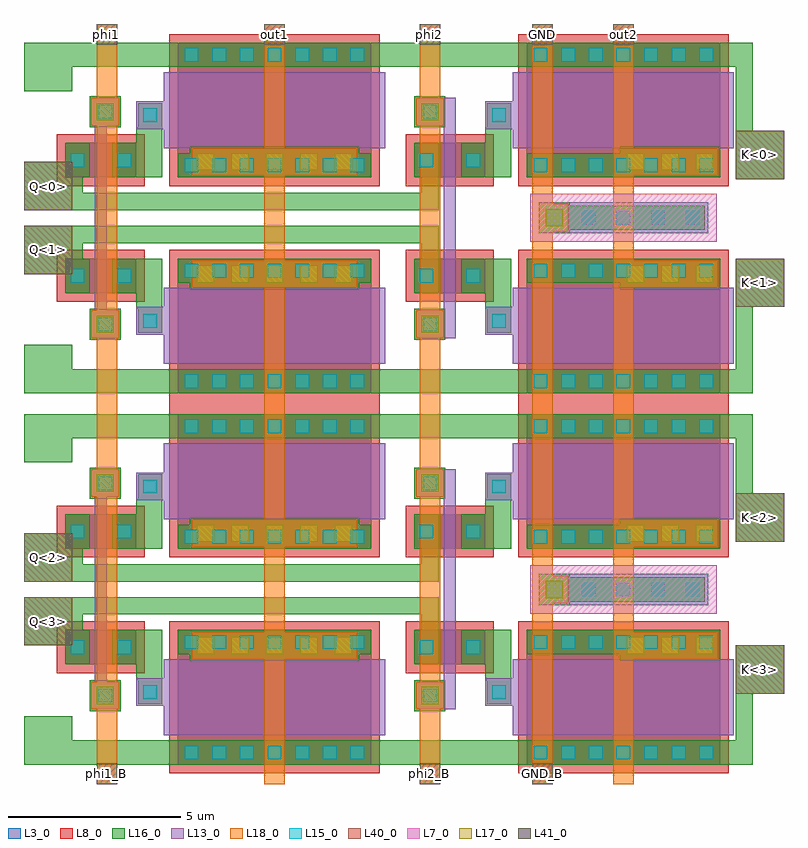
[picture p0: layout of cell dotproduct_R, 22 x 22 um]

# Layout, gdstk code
from math import pi, radians
import gdstk
lib = gdstk.Library(unit=1e-6, precision=1e-09)
def R(c, l, rs):  # rectangles x0, y0, x1, y1
    for r in rs: c.add(gdstk.rectangle(r[:2], r[2:], *l))
def A(c, l, x, y, w, h, nx, ny, dx, dy):  # array of equal rectangles
    R(c, l, [(x+i*dx, y+j*dy, x+i*dx+w, y+j*dy+h) for i in range(nx) for j in range(ny)])
L3_0 = (3, 0)
L7_0 = (7, 0)
L8_0 = (8, 0)
L13_0 = (13, 0)
L15_0 = (15, 0)
L16_0 = (16, 0)
L17_0 = (17, 0)
L18_0 = (18, 0)
L40_0 = (40, 0)
L41_0 = (41, 0)

nch_cdns_755280863770 = lib.new_cell('nch_CDNS_755280863770')
R(nch_cdns_755280863770, L3_0, [(-0.85,0,-0.15,5.6), (-0.85,0,-0.15,5.6), (-0.15,0,2.35,5.6), (2.35,0,3.05,5.6), (2.35,0,3.05,5.6)])
R(nch_cdns_755280863770, L8_0, [(-1.1,-0.25,3.3,5.85)])
R(nch_cdns_755280863770, L13_0, [(0,-0.4,2.2,6)])
A(nch_cdns_755280863770, L15_0, -0.7, 0.2, 0.4, 0.4, 1, 7, 0, 0.8)
A(nch_cdns_755280863770, L15_0, 2.5, 0.2, 0.4, 0.4, 1, 7, 0, 0.8)
R(nch_cdns_755280863770, L16_0, [(-0.85,0,-0.15,5.6), (2.35,0,3.05,5.6)])
nch_cdns_755280863770.add(gdstk.Label('& SerialNumber 000000', (0,0), layer=16, texttype=0))
nch_cdns_755280863770.add(gdstk.Label('& Distributor VIS', (0,0), layer=16, texttype=0))
nch_cdns_755280863770.add(gdstk.Label('& Metric 1', (0,0), layer=16, texttype=0))
nch_cdns_755280863770.add(gdstk.Label('& Version    \t  1.7A', (0,0), layer=16, texttype=0))
nch_cdns_755280863770.add(gdstk.Label('& PDKName     vis35cv', (0,0), layer=16, texttype=0))
nch_cdns_755280863770.add(gdstk.Label('& Vendor VIS Corp.', (0,0), layer=16, texttype=0))
nch_cdns_755280863770.add(gdstk.Label('D', (2.7,2.8), layer=59, texttype=0))
nch_cdns_755280863770.add(gdstk.Label('S', (-0.5,2.8), layer=59, texttype=0))
nch_cdns_755280863770.add(gdstk.Label('G', (1.1,2.8), layer=59, texttype=0))
nch_cdns_755280863770.add(gdstk.Label('& SerialNumber 000000', (0,0), layer=63, texttype=63))
nch_cdns_755280863770.add(gdstk.Label('& Distributor VIS', (0,0), layer=63, texttype=63))
nch_cdns_755280863770.add(gdstk.Label('& Metric 1', (0,0), layer=63, texttype=63))
nch_cdns_755280863770.add(gdstk.Label('& Version    \t  1.7A', (0,0), layer=63, texttype=63))
nch_cdns_755280863770.add(gdstk.Label('& PDKName     vis35cv', (0,0), layer=63, texttype=63))
nch_cdns_755280863770.add(gdstk.Label('& Vendor VIS Corp.', (0,0), layer=63, texttype=63))

nch_cdns_755280863771 = lib.new_cell('nch_CDNS_755280863771')
R(nch_cdns_755280863771, L3_0, [(-0.85,0,-0.15,1), (-0.85,0,-0.15,1), (-0.15,0,0.5,1), (0.5,0,1.2,1), (0.5,0,1.2,1)])
R(nch_cdns_755280863771, L8_0, [(-1.1,-0.25,1.45,1.25)])
R(nch_cdns_755280863771, L13_0, [(0,-0.4,0.35,1.4)])
R(nch_cdns_755280863771, L15_0, [(-0.7,0.3,-0.3,0.7), (0.65,0.3,1.05,0.7)])
R(nch_cdns_755280863771, L16_0, [(-0.85,0,-0.15,1), (0.5,0,1.2,1)])
nch_cdns_755280863771.add(gdstk.Label('& SerialNumber 000000', (0,0), layer=16, texttype=0))
nch_cdns_755280863771.add(gdstk.Label('& Distributor VIS', (0,0), layer=16, texttype=0))
nch_cdns_755280863771.add(gdstk.Label('& Metric 1', (0,0), layer=16, texttype=0))
nch_cdns_755280863771.add(gdstk.Label('& Version    \t  1.7A', (0,0), layer=16, texttype=0))
nch_cdns_755280863771.add(gdstk.Label('& PDKName     vis35cv', (0,0), layer=16, texttype=0))
nch_cdns_755280863771.add(gdstk.Label('& Vendor VIS Corp.', (0,0), layer=16, texttype=0))
nch_cdns_755280863771.add(gdstk.Label('D', (0.85,0.5), layer=59, texttype=0))
nch_cdns_755280863771.add(gdstk.Label('S', (-0.5,0.5), layer=59, texttype=0))
nch_cdns_755280863771.add(gdstk.Label('G', (0.175,0.5), layer=59, texttype=0))
nch_cdns_755280863771.add(gdstk.Label('& SerialNumber 000000', (0,0), layer=63, texttype=63))
nch_cdns_755280863771.add(gdstk.Label('& Distributor VIS', (0,0), layer=63, texttype=63))
nch_cdns_755280863771.add(gdstk.Label('& Metric 1', (0,0), layer=63, texttype=63))
nch_cdns_755280863771.add(gdstk.Label('& Version    \t  1.7A', (0,0), layer=63, texttype=63))
nch_cdns_755280863771.add(gdstk.Label('& PDKName     vis35cv', (0,0), layer=63, texttype=63))
nch_cdns_755280863771.add(gdstk.Label('& Vendor VIS Corp.', (0,0), layer=63, texttype=63))

m2_m1_cdns_755280863770 = lib.new_cell('M2_M1_CDNS_755280863770')
R(m2_m1_cdns_755280863770, L16_0, [(-1.45,-0.45,1.45,0.45)])
A(m2_m1_cdns_755280863770, L17_0, -1.25, -0.25, 0.5, 0.5, 3, 1, 1, 0)
R(m2_m1_cdns_755280863770, L18_0, [(-1.4,-0.4,1.4,0.4)])

m1_pactive_cdns_75528086 = lib.new_cell('M1_PACTIVE_CDNS_755280863771')
R(m1_pactive_cdns_75528086, L3_0, [(-2.45,-0.45,2.45,0.45)])
R(m1_pactive_cdns_75528086, L7_0, [(-2.7,-0.7,2.7,0.7)])
A(m1_pactive_cdns_75528086, L15_0, -2.2, -0.2, 0.4, 0.4, 5, 1, 1, 0)
R(m1_pactive_cdns_75528086, L16_0, [(-2.35,-0.35,2.35,0.35)])

m2_m1_cdns_755280863772 = lib.new_cell('M2_M1_CDNS_755280863772')
R(m2_m1_cdns_755280863772, L16_0, [(-0.45,-0.45,0.45,0.45)])
R(m2_m1_cdns_755280863772, L17_0, [(-0.25,-0.25,0.25,0.25)])
R(m2_m1_cdns_755280863772, L18_0, [(-0.4,-0.4,0.4,0.4)])

m1_poly1_cdns_7552808637 = lib.new_cell('M1_POLY1_CDNS_755280863773')
R(m1_poly1_cdns_7552808637, L13_0, [(-0.4,-0.4,0.4,0.4)])
R(m1_poly1_cdns_7552808637, L15_0, [(-0.2,-0.2,0.2,0.2)])
R(m1_poly1_cdns_7552808637, L16_0, [(-0.35,-0.35,0.35,0.35)])

m2_m1_cdns_755280863774 = lib.new_cell('M2_M1_CDNS_755280863774')
R(m2_m1_cdns_755280863774, L16_0, [(-2.45,-0.45,2.45,0.45)])
A(m2_m1_cdns_755280863774, L17_0, -2.25, -0.25, 0.5, 0.5, 5, 1, 1, 0)
R(m2_m1_cdns_755280863774, L18_0, [(-2.4,-0.4,2.4,0.4)])

dotproduct_r = lib.new_cell('dotproduct_R')
R(dotproduct_r, L8_0, [(4.2,10.96,10.3,11.06), (14.3,10.96,20.4,11.06)])
R(dotproduct_r, L13_0, [(2.05,2.16,2.4,3.06), (12.15,2.16,12.5,3.06), (2.05,8.21,2.4,9.11), (12.15,8.21,12.5,9.11), (2.05,12.91,2.4,13.81), (12.15,12.91,12.5,13.81), (2.05,18.96,2.4,19.86), (12.15,18.96,12.5,19.86)])
R(dotproduct_r, L16_0, [(0,0.56,1.4,1.96), (20.6,1.26,21.1,2.61), (20.6,2.61,22,4.01), (3.25,3.01,4,4.46), (13.35,3.01,14.1,4.46), (0,4.01,1.4,5.41), (1.2,4.91,12,5.41), (0,5.86,1.4,7.26), (1.2,5.86,12,6.36), (3.25,6.81,4,8.26), (13.35,6.81,14.1,8.26), (20.6,7.01,22,8.41), (20.6,8.41,21.1,10.01), (0,9.31,1.4,10.71), (0,11.31,1.4,12.71), (20.6,12.01,21.1,13.81), (3.25,13.76,4,15.21), (13.35,13.76,14.1,15.21), (20.6,13.81,22,15.21), (0,14.76,1.4,16.16), (1.2,15.66,12,16.16), (0,16.61,1.4,18.01), (1.2,16.61,12,17.11), (20.6,17.51,22,18.91), (3.25,17.56,4,19.01), (13.35,17.56,14.1,19.01), (20.6,18.91,21.1,20.76), (0,20.06,1.4,21.46)])
R(dotproduct_r, L40_0, [(20.6,2.61,22,4.01), (0,4.01,1.4,5.41), (0,5.86,1.4,7.26), (20.6,7.01,22,8.41), (20.6,13.81,22,15.21), (0,14.76,1.4,16.16), (0,16.61,1.4,18.01), (20.6,17.51,22,18.91)])
R(dotproduct_r, L41_0, [(2.1,0,2.7,0.6), (11.45,0,12.05,0.6), (14.71,0,15.31,0.6), (2.1,21.4,2.7,22), (6.95,21.4,7.55,22), (11.45,21.4,12.05,22), (14.71,21.4,15.31,22), (17.05,21.4,17.65,22)])
dotproduct_r.add(gdstk.FlexPath([(4.45,0.91),(1.4,0.91)], 0.7, ends="flush", simple_path=True, layer=16, datatype=0))  # L16_0
dotproduct_r.add(gdstk.FlexPath([(4.57,11.66),(1.4,11.66)], 0.7, ends="flush", simple_path=True, layer=16, datatype=0))  # L16_0
dotproduct_r.add(gdstk.FlexPath([(4.45,21.11),(1.4,21.11)], 0.7, ends="flush", simple_path=True, layer=16, datatype=0))  # L16_0
dotproduct_r.add(gdstk.FlexPath([(4.8,11.31),(4.8,11.66)], 0.7, ends=(0, 0.35), simple_path=True, layer=16, datatype=0))  # L16_0
dotproduct_r.add(gdstk.FlexPath([(4.8,11.66),(21.1,11.66)], 0.7, ends=(0.35, 0), simple_path=True, layer=16, datatype=0))  # L16_0
dotproduct_r.add(gdstk.FlexPath([(11.75,15.66),(11.75,15.21)], 0.5, ends="flush", simple_path=True, layer=16, datatype=0))  # L16_0
dotproduct_r.add(gdstk.FlexPath([(1.45,15.66),(1.45,15.21)], 0.5, ends="flush", simple_path=True, layer=16, datatype=0))  # L16_0
dotproduct_r.add(gdstk.FlexPath([(1.45,17.11),(1.45,17.56)], 0.5, ends="flush", simple_path=True, layer=16, datatype=0))  # L16_0
dotproduct_r.add(gdstk.FlexPath([(11.75,17.11),(11.75,17.56)], 0.5, ends="flush", simple_path=True, layer=16, datatype=0))  # L16_0
dotproduct_r.add(gdstk.FlexPath([(1.45,4.91),(1.45,4.46)], 0.5, ends="flush", simple_path=True, layer=16, datatype=0))  # L16_0
dotproduct_r.add(gdstk.FlexPath([(11.75,4.91),(11.75,4.46)], 0.5, ends="flush", simple_path=True, layer=16, datatype=0))  # L16_0
dotproduct_r.add(gdstk.FlexPath([(1.45,6.36),(1.45,6.81)], 0.5, ends="flush", simple_path=True, layer=16, datatype=0))  # L16_0
dotproduct_r.add(gdstk.FlexPath([(11.75,6.36),(11.75,6.81)], 0.5, ends="flush", simple_path=True, layer=16, datatype=0))  # L16_0
dotproduct_r.add(gdstk.FlexPath([(1.4,10.36),(21.1,10.36)], 0.7, ends="flush", simple_path=True, layer=16, datatype=0))  # L16_0
dotproduct_r.add(gdstk.FlexPath([(10.05,21.11),(21.1,21.11)], 0.7, ends="flush", simple_path=True, layer=16, datatype=0))  # L16_0
dotproduct_r.add(gdstk.FlexPath([(10.05,0.91),(21.1,0.91)], 0.7, ends="flush", simple_path=True, layer=16, datatype=0))  # L16_0
dotproduct_r.add(gdstk.FlexPath([(11.75,22),(11.75,0)], 0.6, ends="flush", simple_path=True, layer=18, datatype=0))  # L18_0
dotproduct_r.add(gdstk.FlexPath([(7.25,22),(7.25,0)], 0.6, ends="flush", simple_path=True, layer=18, datatype=0))  # L18_0
dotproduct_r.add(gdstk.FlexPath([(15.01,22),(15.01,0)], 0.6, ends="flush", simple_path=True, layer=18, datatype=0))  # L18_0
dotproduct_r.add(gdstk.FlexPath([(2.4,22),(2.4,0)], 0.6, ends="flush", simple_path=True, layer=18, datatype=0))  # L18_0
dotproduct_r.add(gdstk.FlexPath([(17.35,22),(17.35,0)], 0.6, ends="flush", simple_path=True, layer=18, datatype=0))  # L18_0
dotproduct_r.add(gdstk.FlexPath([(12.325,17.16),(12.325,15.61)], 0.35, ends="flush", simple_path=True, layer=13, datatype=0))  # L13_0
dotproduct_r.add(gdstk.FlexPath([(12.325,7.06),(12.325,4.86)], 0.35, ends="flush", simple_path=True, layer=13, datatype=0))  # L13_0
dotproduct_r.add(gdstk.FlexPath([(2.225,17.16),(2.225,15.61)], 0.35, ends="flush", simple_path=True, layer=13, datatype=0))  # L13_0
dotproduct_r.add(gdstk.FlexPath([(2.225,7.06),(2.225,4.86)], 0.35, ends="flush", simple_path=True, layer=13, datatype=0))  # L13_0
dotproduct_r.add(gdstk.Reference(nch_cdns_755280863770, (14.55,9.86), rotation=3*pi/2))
dotproduct_r.add(gdstk.Reference(nch_cdns_755280863770, (20.15,1.41), rotation=pi/2))
dotproduct_r.add(gdstk.Reference(nch_cdns_755280863770, (4.45,1.41), rotation=pi/2, x_reflection=True))
dotproduct_r.add(gdstk.Reference(nch_cdns_755280863770, (14.55,20.61), rotation=3*pi/2))
dotproduct_r.add(gdstk.Reference(nch_cdns_755280863770, (4.45,9.86), rotation=3*pi/2))
dotproduct_r.add(gdstk.Reference(nch_cdns_755280863770, (20.15,12.16), rotation=pi/2))
dotproduct_r.add(gdstk.Reference(nch_cdns_755280863770, (4.45,12.16), rotation=pi/2, x_reflection=True))
dotproduct_r.add(gdstk.Reference(nch_cdns_755280863770, (4.45,20.61), rotation=3*pi/2))
dotproduct_r.add(gdstk.Reference(nch_cdns_755280863771, (12.15,6.81)))
dotproduct_r.add(gdstk.Reference(nch_cdns_755280863771, (12.15,3.46)))
dotproduct_r.add(gdstk.Reference(nch_cdns_755280863771, (2.05,3.46)))
dotproduct_r.add(gdstk.Reference(nch_cdns_755280863771, (12.15,17.56)))
dotproduct_r.add(gdstk.Reference(nch_cdns_755280863771, (2.05,6.81)))
dotproduct_r.add(gdstk.Reference(nch_cdns_755280863771, (12.15,14.21)))
dotproduct_r.add(gdstk.Reference(nch_cdns_755280863771, (2.05,14.21)))
dotproduct_r.add(gdstk.Reference(nch_cdns_755280863771, (2.05,17.56)))
dotproduct_r.add(gdstk.Reference(m2_m1_cdns_755280863770, (18.7,18.01)))
dotproduct_r.add(gdstk.Reference(m2_m1_cdns_755280863770, (18.7,14.76)))
dotproduct_r.add(gdstk.Reference(m2_m1_cdns_755280863770, (18.7,7.26)))
dotproduct_r.add(gdstk.Reference(m2_m1_cdns_755280863770, (18.7,4.01)))
dotproduct_r.add(gdstk.Reference(m1_pactive_cdns_75528086, (17.35,5.63)))
dotproduct_r.add(gdstk.Reference(m1_pactive_cdns_75528086, (17.35,16.39)))
dotproduct_r.add(gdstk.Reference(m2_m1_cdns_755280863772, (15.35,5.63)))
dotproduct_r.add(gdstk.Reference(m2_m1_cdns_755280863772, (15.35,16.39)))
dotproduct_r.add(gdstk.Reference(m2_m1_cdns_755280863772, (11.75,8.71)))
dotproduct_r.add(gdstk.Reference(m2_m1_cdns_755280863772, (11.75,13.31)))
dotproduct_r.add(gdstk.Reference(m2_m1_cdns_755280863772, (11.75,2.56)))
dotproduct_r.add(gdstk.Reference(m2_m1_cdns_755280863772, (11.75,19.46)))
dotproduct_r.add(gdstk.Reference(m2_m1_cdns_755280863772, (2.35,13.31)))
dotproduct_r.add(gdstk.Reference(m2_m1_cdns_755280863772, (2.35,8.71)))
dotproduct_r.add(gdstk.Reference(m2_m1_cdns_755280863772, (2.35,2.56)))
dotproduct_r.add(gdstk.Reference(m2_m1_cdns_755280863772, (2.35,19.46)))
dotproduct_r.add(gdstk.Reference(m1_poly1_cdns_7552808637, (13.75,13.41)))
dotproduct_r.add(gdstk.Reference(m1_poly1_cdns_7552808637, (13.75,19.36), x_reflection=True))
dotproduct_r.add(gdstk.Reference(m1_poly1_cdns_7552808637, (13.75,8.61), x_reflection=True))
dotproduct_r.add(gdstk.Reference(m1_poly1_cdns_7552808637, (13.75,2.66)))
dotproduct_r.add(gdstk.Reference(m1_poly1_cdns_7552808637, (3.65,2.66)))
dotproduct_r.add(gdstk.Reference(m1_poly1_cdns_7552808637, (3.65,8.61), x_reflection=True))
dotproduct_r.add(gdstk.Reference(m1_poly1_cdns_7552808637, (3.65,19.36), x_reflection=True))
dotproduct_r.add(gdstk.Reference(m1_poly1_cdns_7552808637, (3.65,13.41)))
dotproduct_r.add(gdstk.Reference(m1_poly1_cdns_7552808637, (11.75,8.71)))
dotproduct_r.add(gdstk.Reference(m1_poly1_cdns_7552808637, (11.75,13.31)))
dotproduct_r.add(gdstk.Reference(m1_poly1_cdns_7552808637, (11.75,2.56)))
dotproduct_r.add(gdstk.Reference(m1_poly1_cdns_7552808637, (11.75,19.46)))
dotproduct_r.add(gdstk.Reference(m1_poly1_cdns_7552808637, (2.35,13.31)))
dotproduct_r.add(gdstk.Reference(m1_poly1_cdns_7552808637, (2.35,8.71)))
dotproduct_r.add(gdstk.Reference(m1_poly1_cdns_7552808637, (2.35,2.56)))
dotproduct_r.add(gdstk.Reference(m1_poly1_cdns_7552808637, (2.35,19.46)))
dotproduct_r.add(gdstk.Reference(m2_m1_cdns_755280863774, (7.25,18.01)))
dotproduct_r.add(gdstk.Reference(m2_m1_cdns_755280863774, (7.25,14.76)))
dotproduct_r.add(gdstk.Reference(m2_m1_cdns_755280863774, (7.25,7.26)))
dotproduct_r.add(gdstk.Reference(m2_m1_cdns_755280863774, (7.25,4.01)))
dotproduct_r.add(gdstk.Label('phi1_B', (2.4,0.3), layer=41, texttype=0))
dotproduct_r.add(gdstk.Label('GND_B', (15.01,0.3), layer=41, texttype=0))
dotproduct_r.add(gdstk.Label('phi2_B', (11.75,0.3), layer=41, texttype=0))
dotproduct_r.add(gdstk.Label('GND', (15.01,21.7), layer=41, texttype=0))
dotproduct_r.add(gdstk.Label('out2', (17.35,21.7), layer=41, texttype=0))
dotproduct_r.add(gdstk.Label('out1', (7.25,21.7), layer=41, texttype=0))
dotproduct_r.add(gdstk.Label('phi2', (11.75,21.7), layer=41, texttype=0))
dotproduct_r.add(gdstk.Label('phi1', (2.4,21.7), layer=41, texttype=0))
dotproduct_r.add(gdstk.Label('Q<0>', (0.7,17.31), layer=40, texttype=0))
dotproduct_r.add(gdstk.Label('Q<3>', (0.7,4.71), layer=40, texttype=0))
dotproduct_r.add(gdstk.Label('Q<1>', (0.7,15.46), layer=40, texttype=0))
dotproduct_r.add(gdstk.Label('Q<2>', (0.7,6.56), layer=40, texttype=0))
dotproduct_r.add(gdstk.Label('K<2>', (21.3,7.71), layer=40, texttype=0))
dotproduct_r.add(gdstk.Label('K<1>', (21.3,14.51), layer=40, texttype=0))
dotproduct_r.add(gdstk.Label('K<3>', (21.3,3.31), layer=40, texttype=0))
dotproduct_r.add(gdstk.Label('K<0>', (21.3,18.21), layer=40, texttype=0))

lib.write_gds('dotproduct_R.gds')
